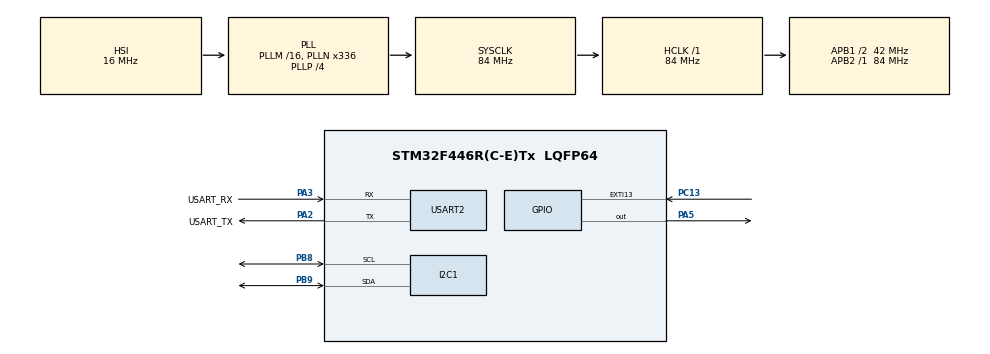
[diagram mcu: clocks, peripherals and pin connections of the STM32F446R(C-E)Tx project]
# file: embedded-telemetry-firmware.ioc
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Mcu.Family=STM32F4
Mcu.Name=STM32F446R(C-E)Tx
Mcu.Package=LQFP64
NUCLEO-F446RE.BUTTON=1
NUCLEO-F446RE.Bsp_Common_DEMO=true
NUCLEO-F446RE.LD1=true
NVIC.EXTI15_10_IRQn=true\:0\:0\:false\:false\:true\:false\:true\:true
NVIC.PriorityGroup=NVIC_PRIORITYGROUP_0
PA13.GPIO_Label=TMS
PA13.Signal=SYS_JTMS-SWDIO
PA14.GPIO_Label=TCK
PA14.Signal=SYS_JTCK-SWCLK
PA2.GPIO_Label=USART_TX
PA2.Mode=Asynchronous
PA2.Signal=USART2_TX
PA3.GPIO_Label=USART_RX
PA3.Mode=Asynchronous
PA3.Signal=USART2_RX
PA5.Signal=GPIO_Output
PB3.GPIO_Label=SWO
PB3.Signal=SYS_JTDO-SWO
PB8.Mode=I2C
PB8.Signal=I2C1_SCL
PB9.Mode=I2C
PB9.Signal=I2C1_SDA
PC13.Signal=GPXTI13
PC14-OSC32_IN.Signal=RCC_OSC32_IN
PC15-OSC32_OUT.Signal=RCC_OSC32_OUT
PH0-OSC_IN.Signal=RCC_OSC_IN
PH1-OSC_OUT.Signal=RCC_OSC_OUT
ProjectManager.HeapSize=0x200
ProjectManager.StackSize=0x400
ProjectManager.TargetToolchain=STM32CubeIDE
RCC.AHBFreq_Value=84000000
RCC.APB1CLKDivider=RCC_HCLK_DIV2
RCC.APB1Freq_Value=42000000
RCC.APB1TimFreq_Value=84000000
RCC.APB2Freq_Value=84000000
RCC.APB2TimFreq_Value=84000000
RCC.CortexFreq_Value=84000000
RCC.FLatency-AdvancedSettings=FLASH_LATENCY_2
RCC.HCLKFreq_Value=84000000
RCC.HSE_VALUE=8000000
RCC.HSI_VALUE=16000000
RCC.LSE_VALUE=32768
RCC.PLLN=336
RCC.PLLP=RCC_PLLP_DIV4
RCC.SYSCLKFreq_VALUE=84000000
RCC.SYSCLKSource=RCC_SYSCLKSOURCE_PLLCLK
RCC.USBFreq_Value=168000000
RCC.VCOOutputFreq_Value=336000000
USART2.VirtualMode=VM_ASYNC
VP_NUCLEO-F446RE_VS_BSP_COMMON.Mode=COMMON
board=NUCLEO-F446RE

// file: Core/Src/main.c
/* USER CODE BEGIN Header */
/**
  ******************************************************************************
  * @file           : main.c
  * @brief          : Main program body
  ******************************************************************************
  * @attention
  *
  * Copyright (c) 2026 STMicroelectronics.
  * All rights reserved.
  *
  * This software is licensed under terms that can be found in the LICENSE file
  * in the root directory of this software component.
  * If no LICENSE file comes with this software, it is provided AS-IS.
  *
  ******************************************************************************
  */
/* USER CODE END Header */
#include "main.h"

/* USER CODE BEGIN Includes */
#include "stdio.h"
#include "mpu6050.h"

/* USER CODE END Includes */

/* USER CODE BEGIN PD */
#define IMU_SAMPLE_PERIOD_MS      10U  // 100 Hz
#define TELEMETRY_PERIOD_MS       50U  // 20 Hz
#define LED_PERIOD_MS            500U  // heartbeat
#define STATS_PERIOD_MS        10000U  // Report every 10 seconds

/* USER CODE END PD */

/* Button state */
#define BUTTON_RELEASED                    0U
#define BUTTON_PRESSED                     1U

__IO uint32_t BspButtonState = BUTTON_RELEASED;
I2C_HandleTypeDef hi2c1;

UART_HandleTypeDef huart2;

void SystemClock_Config(void);
static void MX_GPIO_Init(void);
static void MX_USART2_UART_Init(void);
static void MX_I2C1_Init(void);

int main(void)
{

  /* MCU Configuration--------------------------------------------------------*/

  /* Reset of all peripherals, Initializes the Flash interface and the Systick. */
  HAL_Init();

  /* Configure the system clock */
  SystemClock_Config();

  /* Initialize all configured peripherals */
  MX_GPIO_Init();
  MX_USART2_UART_Init();
  MX_I2C1_Init();
  /* USER CODE BEGIN 2 */
  const char startup_message[] =
		  "Embedded Telemetry System v0.1\r\n"
		  "STM32F446RE initialized\r\n"
		  "USART communication OK \r\n";

  HAL_UART_Transmit(
		  &huart2,
		  (uint8_t *)startup_message,
		  sizeof(startup_message) - 1,
		  HAL_MAX_DELAY
  );

  if (MPU6050_Init(&hi2c1) == HAL_OK)
  {
	  const char msg[] = "MPU-6050 initialization SUCCESS\r\n";

	  HAL_UART_Transmit(
	  	  	  &huart2,
	  	  	  (uint8_t *)msg,
	  	  	  sizeof(msg) - 1,
	  	  	  HAL_MAX_DELAY
	  );
  }
  else
  {
	  const char msg[] = "ERROR: MPU-6050 initialization failed\r\n";

	  HAL_UART_Transmit(
	  	  	  &huart2,
	  	  	  (uint8_t *)msg,
	  	  	  sizeof(msg) - 1,
	  	  	  HAL_MAX_DELAY
	  );

	  Error_Handler();
  }

  MPU6050_Sample sample = {0};

  // Timing variables
  uint32_t last_sample_ms = HAL_GetTick();
  uint32_t last_telemetry_ms = HAL_GetTick();
  uint32_t last_led_ms = HAL_GetTick();

  uint32_t sample_count = 0;

  char telemetry_buffer[160];

  // Statistics variables
  uint32_t telemetry_count = 0;
  uint32_t i2c_error_count = 0;

  uint32_t last_stats_ms = HAL_GetTick();

  uint32_t last_stats_sample_count = 0;
  uint32_t last_stats_telemetry_count = 0;
  uint32_t last_stats_i2c_errors = 0;

  char stats_buffer[160];

  /* USER CODE END 2 */

  /* Initialize leds */
  BSP_LED_Init(LED2);

  /* Initialize USER push-button, will be used to trigger an interrupt each time it's pressed.*/
  BSP_PB_Init(BUTTON_USER, BUTTON_MODE_EXTI);

  /* USER CODE BEGIN BSP */

  /* -- Sample board code to switch on leds ---- */
  BSP_LED_On(LED2);

  /* USER CODE END BSP */

  /* Infinite loop */
  /* USER CODE BEGIN WHILE */
  while (1)
  {

    /* -- Sample board code for User push-button in interrupt mode ---- */
    if (BspButtonState == BUTTON_PRESSED)
    {
      /* Update button state */
      BspButtonState = BUTTON_RELEASED;
      /* -- Sample board code to toggle leds ---- */
      BSP_LED_Toggle(LED2);
      /* ..... Perform your action ..... */
    }
    /* USER CODE END WHILE */

    /* USER CODE BEGIN 3 */

    uint32_t now = HAL_GetTick();

    /*
     * IMU acquisition: 100 Hz
     */
    if ((uint32_t)(now - last_sample_ms) >= IMU_SAMPLE_PERIOD_MS)
    {
    	last_sample_ms += IMU_SAMPLE_PERIOD_MS;

    	if (MPU6050_Read(&hi2c1, &sample) == HAL_OK)
    	{
    		sample_count++;
    	}
    	else
    	{
    		i2c_error_count++;
    	}
    }

    /*
     * UART telemetry: 20 Hz
     */
    if ((uint32_t)(now - last_telemetry_ms) >= TELEMETRY_PERIOD_MS)
    {
    	last_telemetry_ms += TELEMETRY_PERIOD_MS;

    	int len = snprintf(
    			telemetry_buffer,
    	    	sizeof(telemetry_buffer),
    	    	"%lu,%.3f,%.3f,%.3f,%.2f,%.2f,%.2f\r\n",
				(unsigned long)sample_count,
    	    	sample.accel_x_g,
    	    	sample.accel_y_g,
				sample.accel_z_g,
				sample.gyro_x_dps,
				sample.gyro_y_dps,
				sample.gyro_z_dps
    	    );

    	 if (len > 0 && len < sizeof(telemetry_buffer))
    	 {
    		 HAL_StatusTypeDef uart_status = HAL_UART_Transmit(
    				 &huart2,
					 (uint8_t *)telemetry_buffer,
					 (uint16_t)len,
					 20
    		 );

    		 if (uart_status == HAL_OK)
    		 {
    			 telemetry_count++;
    		 }
    	 }
    }

    /*
     * LED heartbeat: 2 Hz toggle
     */
    if ((uint32_t)(now - last_led_ms) >= LED_PERIOD_MS)
    {
    	last_led_ms += LED_PERIOD_MS;

    	HAL_GPIO_TogglePin(GPIOA, GPIO_PIN_5);
    }

    /*
     * Performance statistics: every 10 seconds
     */
    uint32_t elapsed_ms = (uint32_t)(now - last_stats_ms);

    if (elapsed_ms >= STATS_PERIOD_MS)
    {
    	// Count activity since previous report
    	uint32_t imu_samples = sample_count - last_stats_sample_count;
    	uint32_t uart_messages = telemetry_count - last_stats_telemetry_count;
    	uint32_t i2c_errors = i2c_error_count - last_stats_i2c_errors;

    	// Convert counts to events per second
    	float imu_hz = (imu_samples * 1000.0f) / elapsed_ms;
    	float uart_hz = (uart_messages * 1000.0f) / elapsed_ms;

    	int len = snprintf(
    			stats_buffer,
				sizeof(stats_buffer),
				"# STATS: IMU=%.1f Hz, UART=%.1f Hz, I2C errors=%lu\r\n",
				imu_hz,
				uart_hz,
				(unsigned long)i2c_errors
    	);

    	if (len > 0 && len < sizeof(stats_buffer))
    	{
    		HAL_UART_Transmit(
    				&huart2,
					(uint8_t *)stats_buffer,
					(uint16_t)len,
					100
    		);
    	}

    	last_stats_ms = HAL_GetTick();
    	last_stats_sample_count = sample_count;
    	last_stats_telemetry_count = telemetry_count;
    	last_stats_i2c_errors = i2c_error_count;
    }
  }

  /* USER CODE END 3 */
}

void SystemClock_Config(void)
{
  RCC_OscInitTypeDef RCC_OscInitStruct = {0};
  RCC_ClkInitTypeDef RCC_ClkInitStruct = {0};

  /** Configure the main internal regulator output voltage
  */
  __HAL_RCC_PWR_CLK_ENABLE();
  __HAL_PWR_VOLTAGESCALING_CONFIG(PWR_REGULATOR_VOLTAGE_SCALE3);

  /** Initializes the RCC Oscillators according to the specified parameters
  * in the RCC_OscInitTypeDef structure.
  */
  RCC_OscInitStruct.OscillatorType = RCC_OSCILLATORTYPE_HSI;
  RCC_OscInitStruct.HSIState = RCC_HSI_ON;
  RCC_OscInitStruct.HSICalibrationValue = RCC_HSICALIBRATION_DEFAULT;
  RCC_OscInitStruct.PLL.PLLState = RCC_PLL_ON;
  RCC_OscInitStruct.PLL.PLLSource = RCC_PLLSOURCE_HSI;
  RCC_OscInitStruct.PLL.PLLM = 16;
  RCC_OscInitStruct.PLL.PLLN = 336;
  RCC_OscInitStruct.PLL.PLLP = RCC_PLLP_DIV4;
  RCC_OscInitStruct.PLL.PLLQ = 2;
  RCC_OscInitStruct.PLL.PLLR = 2;
  if (HAL_RCC_OscConfig(&RCC_OscInitStruct) != HAL_OK)
  {
    Error_Handler();
  }

  /** Initializes the CPU, AHB and APB buses clocks
  */
  RCC_ClkInitStruct.ClockType = RCC_CLOCKTYPE_HCLK|RCC_CLOCKTYPE_SYSCLK
                              |RCC_CLOCKTYPE_PCLK1|RCC_CLOCKTYPE_PCLK2;
  RCC_ClkInitStruct.SYSCLKSource = RCC_SYSCLKSOURCE_PLLCLK;
  RCC_ClkInitStruct.AHBCLKDivider = RCC_SYSCLK_DIV1;
  RCC_ClkInitStruct.APB1CLKDivider = RCC_HCLK_DIV2;
  RCC_ClkInitStruct.APB2CLKDivider = RCC_HCLK_DIV1;

  if (HAL_RCC_ClockConfig(&RCC_ClkInitStruct, FLASH_LATENCY_2) != HAL_OK)
  {
    Error_Handler();
  }
}

static void MX_I2C1_Init(void)
{

  hi2c1.Instance = I2C1;
  hi2c1.Init.ClockSpeed = 100000;
  hi2c1.Init.DutyCycle = I2C_DUTYCYCLE_2;
  hi2c1.Init.OwnAddress1 = 0;
  hi2c1.Init.AddressingMode = I2C_ADDRESSINGMODE_7BIT;
  hi2c1.Init.DualAddressMode = I2C_DUALADDRESS_DISABLE;
  hi2c1.Init.OwnAddress2 = 0;
  hi2c1.Init.GeneralCallMode = I2C_GENERALCALL_DISABLE;
  hi2c1.Init.NoStretchMode = I2C_NOSTRETCH_DISABLE;
  if (HAL_I2C_Init(&hi2c1) != HAL_OK)
  {
    Error_Handler();
  }

}

static void MX_USART2_UART_Init(void)
{

  huart2.Instance = USART2;
  huart2.Init.BaudRate = 115200;
  huart2.Init.WordLength = UART_WORDLENGTH_8B;
  huart2.Init.StopBits = UART_STOPBITS_1;
  huart2.Init.Parity = UART_PARITY_NONE;
  huart2.Init.Mode = UART_MODE_TX_RX;
  huart2.Init.HwFlowCtl = UART_HWCONTROL_NONE;
  huart2.Init.OverSampling = UART_OVERSAMPLING_16;
  if (HAL_UART_Init(&huart2) != HAL_OK)
  {
    Error_Handler();
  }

}

static void MX_GPIO_Init(void)
{

  /* GPIO Ports Clock Enable */
  __HAL_RCC_GPIOC_CLK_ENABLE();
  __HAL_RCC_GPIOH_CLK_ENABLE();
  __HAL_RCC_GPIOA_CLK_ENABLE();
  __HAL_RCC_GPIOB_CLK_ENABLE();

}

/**
  * @brief EXTI line detection callbacks
  * @param GPIO_Pin: Specifies the pins connected EXTI line
  * @retval None
  */
void HAL_GPIO_EXTI_Callback(uint16_t GPIO_Pin)
{
  if(GPIO_Pin==USER_BUTTON_PIN)
  {
    BspButtonState = BUTTON_PRESSED;
  }
}

void Error_Handler(void)
{
  __disable_irq();
  while (1)
  {
  }
}
